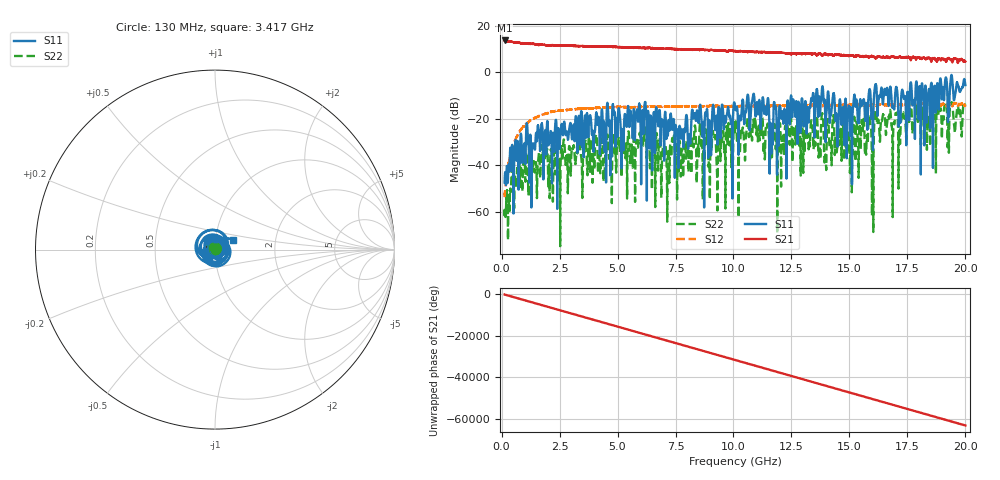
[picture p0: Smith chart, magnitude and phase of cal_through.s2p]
!Created with skrf (http://scikit-rf.org).
# GHz S RI R 50.0
!freq ReS11 ImS11 ReS21 ImS21 ReS12 ImS12 ReS22 ImS22
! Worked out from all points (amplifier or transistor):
!   20013 points, 130 MHz to 20 GHz, reference 50 ohm
!   highest |S21| = 13.7 dB at 132 MHz (marker M1)
!   |S21| within 3 dB of that: start of sweep to 5.368 GHz (the widest 1 of 14)
!   unconditionally stable (mu >= 1): start of sweep to 18.9 GHz; 19.17 GHz to 19.36 GHz; 19.43 GHz to 19.94 GHz (the widest 3 of 5)
!   at 3.465 GHz: K = 1.13, MAG = 11.3 dB, |S12| = -15.7 dB
!   at 10.14 GHz: K = 1.20, MAG = 9.2 dB, |S12| = -14.7 dB
!   at 20 GHz: K = 1.34, MAG = 6.0 dB, |S12| = -14.4 dB
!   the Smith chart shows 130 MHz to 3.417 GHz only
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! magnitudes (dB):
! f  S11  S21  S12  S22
! 130 MHz  -47.5  13.6  -53.8  -61.7
! 132 MHz  -46.9  13.7  -53.2  -59.2
! 453 MHz  -31.4  13.1  -32.9  -41.9
! 943 MHz  -34.5  12.5  -23.4  -36.4
! 3.442 GHz  -16.8  11.2  -15.7  -37.1
! 6.754 GHz  -23.2  10.2  -14.8  -38.9
! 7.552 GHz  -25.3  10.0  -14.7  -36.2
! 8.277 GHz  -20.0  9.7  -14.8  -32.4
! 8.981 GHz  -24.7  9.5  -14.5  -54.6
! 10.06 GHz  -14.3  9.2  -14.6  -25.5
! 10.23 GHz  -26.4  9.1  -14.6  -42.1
! 11.44 GHz  -16.5  8.6  -14.6  -23.9
! 11.63 GHz  -32.6  8.6  -14.5  -27.5
! 11.76 GHz  -12.9  8.5  -14.7  -23.1
! 13.38 GHz  -12.0  7.8  -14.2  -21.2
! 15.07 GHz  -15.1  7.1  -14.1  -29.7
! 15.26 GHz  -13.9  7.1  -14.1  -36.9
! 15.98 GHz  -17.9  6.9  -13.9  -40.8
! 16.16 GHz  -6.3  6.2  -14.4  -17.9
! 16.69 GHz  -14.5  6.6  -14.1  -19.4
! 17.16 GHz  -17.3  6.6  -14.0  -26.1
! 20 GHz  -5.6  4.6  -14.4  -13.7
